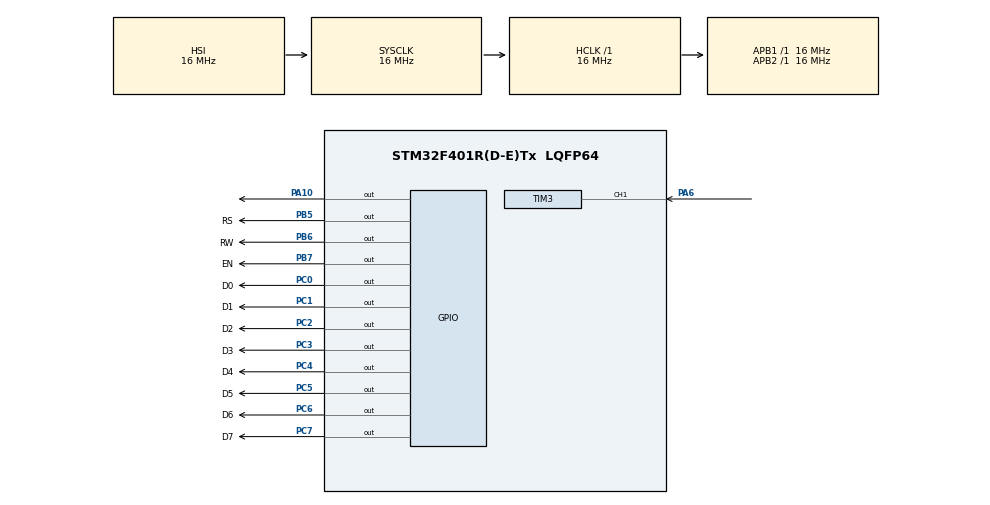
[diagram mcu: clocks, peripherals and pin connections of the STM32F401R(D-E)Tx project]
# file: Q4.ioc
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Mcu.Family=STM32F4
RCC.CortexFreq_Value=16000000
TIM3.AutoReloadPreload=TIM_AUTORELOAD_PRELOAD_ENABLE
PC4.Signal=GPIO_Output
PC2.Signal=GPIO_Output
PC6.Signal=GPIO_Output
PC6.GPIO_Label=D6
PC0.GPIO_Label=D0
PB6.GPIO_Label=RW
PC0.Signal=GPIO_Output
ProjectManager.StackSize=0x400
ProjectManager.TargetToolchain=MDK-ARM V5
PB6.Signal=GPIO_Output
PC7.Signal=GPIO_Output
PC3.Signal=GPIO_Output
RCC.LSE_VALUE=32768
RCC.AHBFreq_Value=16000000
RCC.HSE_VALUE=25000000
TIM3.Channel-Input_Capture1_from_TI1=TIM_CHANNEL_1
board=custom
RCC.VCOOutputFreq_Value=192000000
NVIC.TIM3_IRQn=true\:0\:0\:false\:false\:true\:true\:true
RCC.APB2Freq_Value=16000000
PC4.GPIO_Label=D4
TIM3.Prescaler=16000
PC1.GPIO_Label=D1
TIM3.ICPolarity_CH1=TIM_INPUTCHANNELPOLARITY_RISING
PB7.Signal=GPIO_Output
SH.S_TIM3_CH1.0=TIM3_CH1,Input_Capture1_from_TI1
Mcu.Name=STM32F401R(D-E)Tx
PC7.GPIO_Label=D7
PB7.GPIO_Label=EN
RCC.SYSCLKFreq_VALUE=16000000
Mcu.Package=LQFP64
PB5.Signal=GPIO_Output
PA6.Signal=S_TIM3_CH1
PC5.GPIO_Label=D5
PA10.Signal=GPIO_Output
ProjectManager.HeapSize=0x200
RCC.HSI_VALUE=16000000
NVIC.PriorityGroup=NVIC_PRIORITYGROUP_4
PB5.GPIO_Label=RS
PC3.GPIO_Label=D3
PC5.Signal=GPIO_Output
TIM3.ICFilter_CH1=15
RCC.APB1Freq_Value=16000000
PC2.GPIO_Label=D2
PC1.Signal=GPIO_Output

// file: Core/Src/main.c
/* USER CODE BEGIN Header */
/**
  ******************************************************************************
  * @file           : main.c
  * @brief          : Main program body
  ******************************************************************************
  * @attention
  *
  * <h2><center>&copy; Copyright (c) 2020 STMicroelectronics.
  * All rights reserved.</center></h2>
  *
  * This software component is licensed by ST under BSD 3-Clause license,
  * the "License"; You may not use this file except in compliance with the
  * License. You may obtain a copy of the License at:
  *                        opensource.org/licenses/BSD-3-Clause
  *
  ******************************************************************************
  */
/* USER CODE END Header */
#include "main.h"

/* USER CODE BEGIN Includes */
#include <string.h>
#include <stdio.h>
/* USER CODE END Includes */

/* USER CODE BEGIN PD */
#define RS 0x20 /* PB5 mask for reg select */
#define RW 0x40 /* PB6 mask for read/write */
#define EN 0x80 /* PB7 mask for enable */

#define ROW_COUNT 2
/* USER CODE END PD */

TIM_HandleTypeDef htim3;

/* USER CODE BEGIN PV */
int displayOn = 1;
int cursorOn = 1;

uint32_t IC_Val1 = 0;
uint32_t IC_Val2 = 0;
uint32_t Difference = 0;
uint8_t Is_First_Captured = 0;

char textToWrite[7];
int done = 0;
int convertSuccessful = 0;
/* USER CODE END PV */

void SystemClock_Config(void);
static void MX_GPIO_Init(void);
static void MX_TIM3_Init(void);
/* USER CODE BEGIN PFP */
int lcdInit(int row);
void lcdHome(void);
void lcdClear(void);
void lcdDisplay(void);
void lcdCursor(void);
void lcdCursorBlink(int state);
void lcdSendCommand(unsigned char command);
void lcdPosition(int x, int y);
void lcdPutchar(unsigned char data);
void lcdPuts(const char *string);
/* USER CODE END PFP */

/* USER CODE BEGIN 0 */
void HAL_TIM_IC_CaptureCallback(TIM_HandleTypeDef *htim)
{
  if (Is_First_Captured == 0)
  {
    IC_Val1 = HAL_TIM_ReadCapturedValue(htim, TIM_CHANNEL_1);

    Is_First_Captured = 1;

    __HAL_TIM_SET_CAPTUREPOLARITY(htim, TIM_CHANNEL_1, TIM_INPUTCHANNELPOLARITY_FALLING);
  }

  else
  {
    IC_Val2 = HAL_TIM_ReadCapturedValue(htim, TIM_CHANNEL_1);
    __HAL_TIM_SET_COUNTER(htim, 0);

    if (IC_Val2 > IC_Val1)
    {
      Difference = IC_Val2 - IC_Val1;
      done = 1;
    }

    Is_First_Captured = 0;
    __HAL_TIM_SET_CAPTUREPOLARITY(htim, TIM_CHANNEL_1, TIM_INPUTCHANNELPOLARITY_RISING);
  }
}
/* USER CODE END 0 */

int main(void)
{

  /* MCU Configuration--------------------------------------------------------*/

  /* Reset of all peripherals, Initializes the Flash interface and the Systick. */
  HAL_Init();

  /* Configure the system clock */
  SystemClock_Config();

  /* Initialize all configured peripherals */
  MX_GPIO_Init();
  MX_TIM3_Init();
  /* USER CODE BEGIN 2 */
  HAL_TIM_IC_Start_IT(&htim3, TIM_CHANNEL_1);
  lcdInit(ROW_COUNT);
  /* USER CODE END 2 */

  /* Infinite loop */
  while (1)
  {
    if (done)
    {
      HAL_GPIO_TogglePin(GPIOA, GPIO_PIN_10);

      //lcdPuts("sa");
      convertSuccessful = sprintf(textToWrite, "%lu", Difference);

      if (convertSuccessful > 0)
      {
        lcdPuts(textToWrite);
        lcdPuts(" ms");

        HAL_Delay(500);
      }

      lcdClear();
      lcdHome();
      done = 0;
    }
  }
}

void SystemClock_Config(void)
{
  RCC_OscInitTypeDef RCC_OscInitStruct = {0};
  RCC_ClkInitTypeDef RCC_ClkInitStruct = {0};

  /** Configure the main internal regulator output voltage
  */
  __HAL_RCC_PWR_CLK_ENABLE();
  __HAL_PWR_VOLTAGESCALING_CONFIG(PWR_REGULATOR_VOLTAGE_SCALE2);
  /** Initializes the RCC Oscillators according to the specified parameters
  * in the RCC_OscInitTypeDef structure.
  */
  RCC_OscInitStruct.OscillatorType = RCC_OSCILLATORTYPE_HSI;
  RCC_OscInitStruct.HSIState = RCC_HSI_ON;
  RCC_OscInitStruct.HSICalibrationValue = RCC_HSICALIBRATION_DEFAULT;
  RCC_OscInitStruct.PLL.PLLState = RCC_PLL_NONE;
  if (HAL_RCC_OscConfig(&RCC_OscInitStruct) != HAL_OK)
  {
    Error_Handler();
  }
  /** Initializes the CPU, AHB and APB buses clocks
  */
  RCC_ClkInitStruct.ClockType = RCC_CLOCKTYPE_HCLK | RCC_CLOCKTYPE_SYSCLK | RCC_CLOCKTYPE_PCLK1 | RCC_CLOCKTYPE_PCLK2;
  RCC_ClkInitStruct.SYSCLKSource = RCC_SYSCLKSOURCE_HSI;
  RCC_ClkInitStruct.AHBCLKDivider = RCC_SYSCLK_DIV1;
  RCC_ClkInitStruct.APB1CLKDivider = RCC_HCLK_DIV1;
  RCC_ClkInitStruct.APB2CLKDivider = RCC_HCLK_DIV1;

  if (HAL_RCC_ClockConfig(&RCC_ClkInitStruct, FLASH_LATENCY_0) != HAL_OK)
  {
    Error_Handler();
  }
}

static void MX_TIM3_Init(void)
{

  TIM_MasterConfigTypeDef sMasterConfig = {0};
  TIM_IC_InitTypeDef sConfigIC = {0};

  htim3.Instance = TIM3;
  htim3.Init.Prescaler = 16000;
  htim3.Init.CounterMode = TIM_COUNTERMODE_UP;
  htim3.Init.Period = 65535;
  htim3.Init.ClockDivision = TIM_CLOCKDIVISION_DIV1;
  htim3.Init.AutoReloadPreload = TIM_AUTORELOAD_PRELOAD_ENABLE;
  if (HAL_TIM_IC_Init(&htim3) != HAL_OK)
  {
    Error_Handler();
  }
  sMasterConfig.MasterOutputTrigger = TIM_TRGO_RESET;
  sMasterConfig.MasterSlaveMode = TIM_MASTERSLAVEMODE_DISABLE;
  if (HAL_TIMEx_MasterConfigSynchronization(&htim3, &sMasterConfig) != HAL_OK)
  {
    Error_Handler();
  }
  sConfigIC.ICPolarity = TIM_INPUTCHANNELPOLARITY_RISING;
  sConfigIC.ICSelection = TIM_ICSELECTION_DIRECTTI;
  sConfigIC.ICPrescaler = TIM_ICPSC_DIV1;
  sConfigIC.ICFilter = 15;
  if (HAL_TIM_IC_ConfigChannel(&htim3, &sConfigIC, TIM_CHANNEL_1) != HAL_OK)
  {
    Error_Handler();
  }
}

static void MX_GPIO_Init(void)
{
  GPIO_InitTypeDef GPIO_InitStruct = {0};

  /* GPIO Ports Clock Enable */
  __HAL_RCC_GPIOC_CLK_ENABLE();
  __HAL_RCC_GPIOA_CLK_ENABLE();
  __HAL_RCC_GPIOB_CLK_ENABLE();

  /*Configure GPIO pin Output Level */
  HAL_GPIO_WritePin(GPIOC, D0_Pin | D1_Pin | D2_Pin | D3_Pin | D4_Pin | D5_Pin | D6_Pin | D7_Pin, GPIO_PIN_RESET);

  /*Configure GPIO pin Output Level */
  HAL_GPIO_WritePin(GPIOA, GPIO_PIN_10, GPIO_PIN_RESET);

  /*Configure GPIO pin Output Level */
  HAL_GPIO_WritePin(GPIOB, RS_Pin | RW_Pin | EN_Pin, GPIO_PIN_RESET);

  /*Configure GPIO pins : D0_Pin D1_Pin D2_Pin D3_Pin
                           D4_Pin D5_Pin D6_Pin D7_Pin */
  GPIO_InitStruct.Pin = D0_Pin | D1_Pin | D2_Pin | D3_Pin | D4_Pin | D5_Pin | D6_Pin | D7_Pin;
  GPIO_InitStruct.Mode = GPIO_MODE_OUTPUT_PP;
  GPIO_InitStruct.Pull = GPIO_NOPULL;
  GPIO_InitStruct.Speed = GPIO_SPEED_FREQ_LOW;
  HAL_GPIO_Init(GPIOC, &GPIO_InitStruct);

  /*Configure GPIO pin : PA10 */
  GPIO_InitStruct.Pin = GPIO_PIN_10;
  GPIO_InitStruct.Mode = GPIO_MODE_OUTPUT_PP;
  GPIO_InitStruct.Pull = GPIO_NOPULL;
  GPIO_InitStruct.Speed = GPIO_SPEED_FREQ_LOW;
  HAL_GPIO_Init(GPIOA, &GPIO_InitStruct);

  /*Configure GPIO pins : RS_Pin RW_Pin EN_Pin */
  GPIO_InitStruct.Pin = RS_Pin | RW_Pin | EN_Pin;
  GPIO_InitStruct.Mode = GPIO_MODE_OUTPUT_PP;
  GPIO_InitStruct.Pull = GPIO_NOPULL;
  GPIO_InitStruct.Speed = GPIO_SPEED_FREQ_LOW;
  HAL_GPIO_Init(GPIOB, &GPIO_InitStruct);
}

/* USER CODE BEGIN 4 */
int lcdInit(int row)
{
  HAL_Delay(30); /* initialization sequence */
  if (row == 1)
  {
    lcdSendCommand(0x30); /* set 8-bit data, 1-line, 5x7 font */
  }
  else
  {
    lcdSendCommand(0x38); /* set 8-bit data, 2-line, 5x7 font */
  }

  lcdSendCommand(0x0F); /* turn on display, cursor blinking */

  lcdSendCommand(0x01); /* clear screen, move cursor to home */

  lcdSendCommand(0x06); /* move cursor right after each char */
  return 0;
}

void lcdHome(void)
{
  lcdSendCommand(0x02);
  return;
}

void lcdClear(void)
{
  lcdSendCommand(0x01);
  return;
}

void lcdDisplay(void)
{
  if (displayOn)
  {
    displayOn = 0;
    lcdSendCommand(0x08); /* display off, cursor off, blink off */
  }
  else
  {
    displayOn = 1;
    lcdSendCommand(0x0F);
  }
  return;
}

void lcdCursor(void)
{
  if (cursorOn)
  {
    cursorOn = 0;
    lcdSendCommand(0x0C);
  }
  else
  {
    cursorOn = 1;
    lcdSendCommand(0x0F);
  }
  return;
}

void lcdCursorBlink(int state)
{
  if (state)
  {
    lcdSendCommand(0x0F);
  }
  else
  {
    lcdSendCommand(0x0E);
  }
  return;
}

void lcdSendCommand(unsigned char command)
{
  GPIOB->BSRR = (RS | RW) << 16; /* RS = 0, R/W = 0 */
  GPIOC->ODR = command;          /* put command on data bus */
  GPIOB->BSRR = EN;              /* pulse E high */
  HAL_Delay(0);
  GPIOB->BSRR = EN << 16; /* clear E */

  if (command < 4)
    HAL_Delay(2); /* command 1 and 2 needs up to 1.64ms */
  else
    HAL_Delay(1); /* all others 40 us */
  return;
}

void lcdPosition(int x, int y)
{
  int i = 0;
  switch (y)
  {
  case 1:
  {
    lcdSendCommand(0x80);
    break;
  }
  case 2:
  {
    lcdSendCommand(0xC0);
    break;
  }
  case 3:
  {
    lcdSendCommand(0x90);
    break;
  }
  case 4:
  {
    lcdSendCommand(0xD0);
    break;
  }
  }

  for (i = 0; i < x; i++)
  {
    lcdSendCommand(0x14);
  }
  return;
}

void lcdPutchar(unsigned char data)
{
  GPIOB->BSRR = RS;       /* RS = 1 */
  GPIOB->BSRR = RW << 16; /* R/W = 0 */
  GPIOC->ODR = data;      /* put data on data bus */
  GPIOB->BSRR = EN;       /* pulse E high */
  HAL_Delay(0);
  GPIOB->BSRR = EN << 16; /* clear E */

  HAL_Delay(1);
  return;
}

void lcdPuts(const char *string)
{
  int i = 0;
  for (i = 0; i < strlen(string); i++)
  {
    lcdPutchar(string[i]);
    HAL_Delay(10);
  }
  return;
}
/* USER CODE END 4 */

void Error_Handler(void)
{
  __disable_irq();
  while (1)
  {
  }
}

/************************ (C) COPYRIGHT STMicroelectronics *****END OF FILE****/
